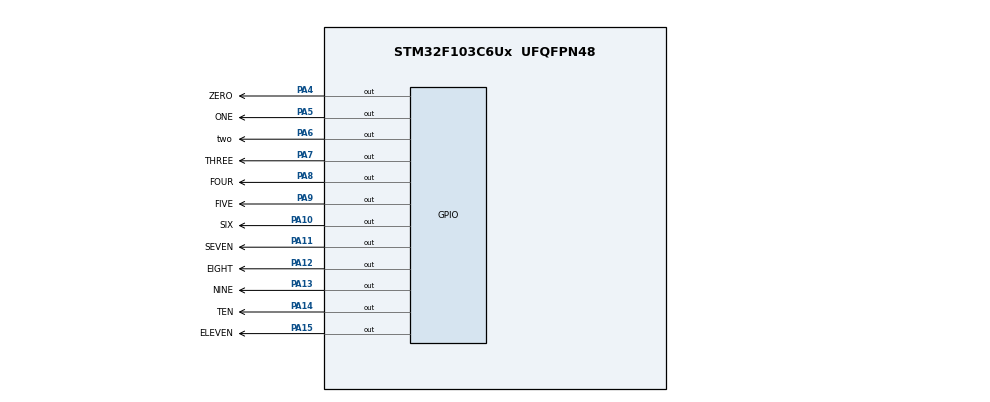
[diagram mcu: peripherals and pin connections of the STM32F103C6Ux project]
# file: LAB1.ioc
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Mcu.Family=STM32F1
Mcu.Name=STM32F103C6Ux
Mcu.Package=UFQFPN48
NVIC.PriorityGroup=NVIC_PRIORITYGROUP_4
PA10.GPIO_Label=SIX
PA10.Signal=GPIO_Output
PA11.GPIO_Label=SEVEN
PA11.Signal=GPIO_Output
PA12.GPIO_Label=EIGHT
PA12.Signal=GPIO_Output
PA13.GPIO_Label=NINE
PA13.Signal=GPIO_Output
PA14.GPIO_Label=TEN
PA14.Signal=GPIO_Output
PA15.GPIO_Label=ELEVEN
PA15.Signal=GPIO_Output
PA4.GPIO_Label=ZERO
PA4.Signal=GPIO_Output
PA5.GPIO_Label=ONE
PA5.Signal=GPIO_Output
PA6.GPIO_Label=two
PA6.Signal=GPIO_Output
PA7.GPIO_Label=THREE
PA7.Signal=GPIO_Output
PA8.GPIO_Label=FOUR
PA8.Signal=GPIO_Output
PA9.GPIO_Label=FIVE
PA9.Signal=GPIO_Output
ProjectManager.HeapSize=0x200
ProjectManager.StackSize=0x400
ProjectManager.TargetToolchain=STM32CubeIDE
RCC.APB1Freq_Value=8000000
RCC.APB2Freq_Value=8000000
VP_SYS_VS_ND.Mode=No_Debug
board=custom

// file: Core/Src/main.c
/* USER CODE BEGIN Header */
/**
  ******************************************************************************
  * @file           : main.c
  * @brief          : Main program body
  ******************************************************************************
  * @attention
  *
  * <h2><center>&copy; Copyright (c) 2024 STMicroelectronics.
  * All rights reserved.</center></h2>
  *
  * This software component is licensed by ST under BSD 3-Clause license,
  * the "License"; You may not use this file except in compliance with the
  * License. You may obtain a copy of the License at:
  *                        opensource.org/licenses/BSD-3-Clause
  *
  ******************************************************************************
  */
/* USER CODE END Header */
#include "main.h"

/* USER CODE BEGIN PV */
 int hour = 0, minute = 0, second = 0;
/* USER CODE END PV */

void SystemClock_Config(void);
static void MX_GPIO_Init(void);
/* USER CODE BEGIN PFP */
void sequenceClock(int counter);
void clearAllClock();
void display_time(int hour, int minute, int second);

/* USER CODE END PFP */

int main(void)
{

  /* MCU Configuration--------------------------------------------------------*/

  /* Reset of all peripherals, Initializes the Flash interface and the Systick. */
  HAL_Init();

  /* Configure the system clock */
  SystemClock_Config();

  /* Initialize all configured peripherals */
  MX_GPIO_Init();

  /* Infinite loop */
  /* USER CODE BEGIN WHILE */
  while (1)
  {		 HAL_Delay(100);

	 second++;
	 if(second >= 60){
		 second = 0;
		 minute++;
	 }
	 if(minute >= 60){
	 		minute = 0;
	 		hour++;
	 }

	 if(hour >= 12){
	 	hour = 0;
	 	}

	 display_time(hour, minute, second);
    /* USER CODE END WHILE */

  }
}

void SystemClock_Config(void)
{
  RCC_OscInitTypeDef RCC_OscInitStruct = {0};
  RCC_ClkInitTypeDef RCC_ClkInitStruct = {0};

  /** Initializes the RCC Oscillators according to the specified parameters
  * in the RCC_OscInitTypeDef structure.
  */
  RCC_OscInitStruct.OscillatorType = RCC_OSCILLATORTYPE_HSI;
  RCC_OscInitStruct.HSIState = RCC_HSI_ON;
  RCC_OscInitStruct.HSICalibrationValue = RCC_HSICALIBRATION_DEFAULT;
  RCC_OscInitStruct.PLL.PLLState = RCC_PLL_NONE;
  if (HAL_RCC_OscConfig(&RCC_OscInitStruct) != HAL_OK)
  {
    Error_Handler();
  }
  /** Initializes the CPU, AHB and APB buses clocks
  */
  RCC_ClkInitStruct.ClockType = RCC_CLOCKTYPE_HCLK|RCC_CLOCKTYPE_SYSCLK
                              |RCC_CLOCKTYPE_PCLK1|RCC_CLOCKTYPE_PCLK2;
  RCC_ClkInitStruct.SYSCLKSource = RCC_SYSCLKSOURCE_HSI;
  RCC_ClkInitStruct.AHBCLKDivider = RCC_SYSCLK_DIV1;
  RCC_ClkInitStruct.APB1CLKDivider = RCC_HCLK_DIV1;
  RCC_ClkInitStruct.APB2CLKDivider = RCC_HCLK_DIV1;

  if (HAL_RCC_ClockConfig(&RCC_ClkInitStruct, FLASH_LATENCY_0) != HAL_OK)
  {
    Error_Handler();
  }
}

static void MX_GPIO_Init(void)
{
  GPIO_InitTypeDef GPIO_InitStruct = {0};

  /* GPIO Ports Clock Enable */
  __HAL_RCC_GPIOA_CLK_ENABLE();

  /*Configure GPIO pin Output Level */
  HAL_GPIO_WritePin(GPIOA, ZERO_Pin|ONE_Pin|two_Pin|THREE_Pin
                          |FOUR_Pin|FIVE_Pin|SIX_Pin|SEVEN_Pin
                          |EIGHT_Pin|NINE_Pin|TEN_Pin|ELEVEN_Pin, GPIO_PIN_RESET);

  /*Configure GPIO pins : ZERO_Pin ONE_Pin two_Pin THREE_Pin
                           FOUR_Pin FIVE_Pin SIX_Pin SEVEN_Pin
                           EIGHT_Pin NINE_Pin TEN_Pin ELEVEN_Pin */
  GPIO_InitStruct.Pin = ZERO_Pin|ONE_Pin|two_Pin|THREE_Pin
                          |FOUR_Pin|FIVE_Pin|SIX_Pin|SEVEN_Pin
                          |EIGHT_Pin|NINE_Pin|TEN_Pin|ELEVEN_Pin;
  GPIO_InitStruct.Mode = GPIO_MODE_OUTPUT_PP;
  GPIO_InitStruct.Pull = GPIO_NOPULL;
  GPIO_InitStruct.Speed = GPIO_SPEED_FREQ_LOW;
  HAL_GPIO_Init(GPIOA, &GPIO_InitStruct);

}

/* USER CODE BEGIN 4 */

void clearAllClock(){
  HAL_GPIO_WritePin(ZERO_GPIO_Port, ZERO_Pin, SET);
  HAL_GPIO_WritePin(ONE_GPIO_Port, ONE_Pin, SET);
  HAL_GPIO_WritePin(two_GPIO_Port, two_Pin, SET);
  HAL_GPIO_WritePin(THREE_GPIO_Port, THREE_Pin, SET);
  HAL_GPIO_WritePin(FOUR_GPIO_Port, FOUR_Pin, SET);
  HAL_GPIO_WritePin(FIVE_GPIO_Port, FIVE_Pin, SET);
  HAL_GPIO_WritePin(SIX_GPIO_Port, SIX_Pin, SET);
  HAL_GPIO_WritePin(SEVEN_GPIO_Port, SEVEN_Pin, SET);
  HAL_GPIO_WritePin(EIGHT_GPIO_Port, EIGHT_Pin, SET);
  HAL_GPIO_WritePin(NINE_GPIO_Port, NINE_Pin, SET);
  HAL_GPIO_WritePin(TEN_GPIO_Port, TEN_Pin, SET);
  HAL_GPIO_WritePin(ELEVEN_GPIO_Port, ELEVEN_Pin, SET);

}

void display_time(int hour, int minute, int second) {
	clearAllClock();
	int hour_pos = hour % 12;
	int min_pos = minute / 5;
	int sec_pos = second / 5;

	int pins[] = {GPIO_PIN_4, GPIO_PIN_5, GPIO_PIN_6, GPIO_PIN_7, GPIO_PIN_8, GPIO_PIN_9, GPIO_PIN_10, GPIO_PIN_11, GPIO_PIN_12, GPIO_PIN_13, GPIO_PIN_14, GPIO_PIN_15};

	    HAL_GPIO_WritePin(GPIOA, pins[hour_pos], RESET);
	    HAL_GPIO_WritePin(GPIOA, pins[min_pos], RESET);
	    HAL_GPIO_WritePin(GPIOA, pins[sec_pos], RESET);

}
/* USER CODE END 4 */

void Error_Handler(void)
{
  __disable_irq();
  while (1)
  {
  }
}

/************************ (C) COPYRIGHT STMicroelectronics *****END OF FILE****/
